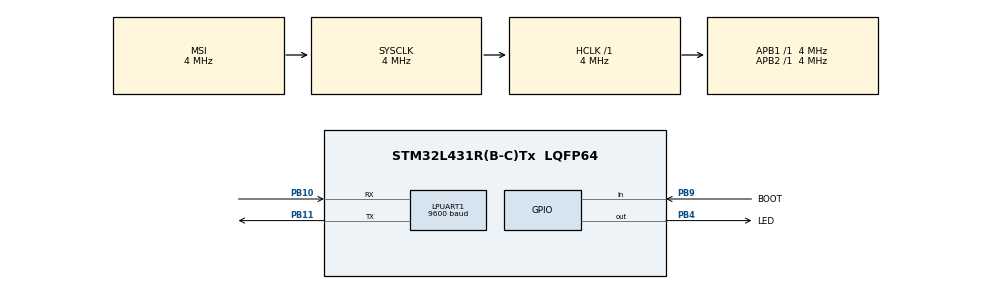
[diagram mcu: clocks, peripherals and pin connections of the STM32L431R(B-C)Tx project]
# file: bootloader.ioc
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LPUART1.BaudRate=9600
LPUART1.WordLength=UART_WORDLENGTH_8B
Mcu.Family=STM32L4
Mcu.Name=STM32L431R(B-C)Tx
Mcu.Package=LQFP64
NVIC.PriorityGroup=NVIC_PRIORITYGROUP_4
PA13\ (JTMS-SWDIO).Mode=Serial_Wire
PA13\ (JTMS-SWDIO).Signal=SYS_JTMS-SWDIO
PA14\ (JTCK-SWCLK).Mode=Serial_Wire
PA14\ (JTCK-SWCLK).Signal=SYS_JTCK-SWCLK
PB10.Mode=Asynchronous
PB10.Signal=LPUART1_RX
PB11.Mode=Asynchronous
PB11.Signal=LPUART1_TX
PB4\ (NJTRST).GPIO_Label=LED
PB4\ (NJTRST).GPIO_PuPd=GPIO_PULLUP
PB4\ (NJTRST).PinState=GPIO_PIN_SET
PB4\ (NJTRST).Signal=GPIO_Output
PB9.GPIO_Label=BOOT
PB9.GPIO_Mode=GPIO_MODE_INPUT
PB9.GPIO_PuPd=GPIO_PULLUP
PB9.Signal=GPIO_Input
PC14-OSC32_IN\ (PC14).Mode=LSE-External-Oscillator
PC14-OSC32_IN\ (PC14).Signal=RCC_OSC32_IN
PC15-OSC32_OUT\ (PC15).Mode=LSE-External-Oscillator
PC15-OSC32_OUT\ (PC15).Signal=RCC_OSC32_OUT
ProjectManager.HeapSize=0x400
ProjectManager.StackSize=0x800
ProjectManager.TargetToolchain=Makefile
RCC.ADCFreq_Value=16000000
RCC.AHBFreq_Value=4000000
RCC.APB1Freq_Value=4000000
RCC.APB1TimFreq_Value=4000000
RCC.APB2Freq_Value=4000000
RCC.APB2TimFreq_Value=4000000
RCC.CortexFreq_Value=4000000
RCC.HCLKFreq_Value=4000000
RCC.HSE_VALUE=8000000
RCC.HSI48_VALUE=48000000
RCC.HSI_VALUE=16000000
RCC.LPUART1CLockSelection=RCC_LPUART1CLKSOURCE_LSE
RCC.MSI_VALUE=4000000
RCC.RTCClockSelection=RCC_RTCCLKSOURCE_LSE
RCC.SYSCLKFreq_VALUE=4000000
RCC.VCOOutputFreq_Value=32000000
VP_CRC_VS_CRC.Mode=CRC_Activate
VP_IWDG_VS_IWDG.Mode=IWDG_Activate
board=custom

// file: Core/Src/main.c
/* USER CODE BEGIN Header */
/**
  ******************************************************************************
  * @file           : main.c
  * @brief          : Main program body
  ******************************************************************************
  * @attention
  *
  * Copyright (c) 2023 STMicroelectronics.
  * All rights reserved.
  *
  * This software is licensed under terms that can be found in the LICENSE file
  * in the root directory of this software component.
  * If no LICENSE file comes with this software, it is provided AS-IS.
  *
  ******************************************************************************
  */
/* USER CODE END Header */
#include "main.h"
#include "crc.h"
#include "iwdg.h"
#include "usart.h"
#include "gpio.h"

/* USER CODE BEGIN Includes */
#include "update.h"
/* USER CODE END Includes */

/* USER CODE BEGIN PV */
char _RAM2 print_buf[512];
BOOT_PARAM boot_param;
uint32_t boot_addr;
/* USER CODE END PV */

void SystemClock_Config(void);

/* USER CODE BEGIN 0 */
static uint8_t check_boot(void) {
  if (LL_GPIO_IsInputPinSet(BOOT_GPIO_Port, BOOT_Pin) == 0) {
    return 1;
  } else {
    return 0;
  }
}
/* USER CODE END 0 */

int main(void)
{

  /* MCU Configuration--------------------------------------------------------*/

  /* Reset of all peripherals, Initializes the Flash interface and the Systick. */
  HAL_Init();

  /* Configure the system clock */
  SystemClock_Config();

  /* Initialize all configured peripherals */
  MX_GPIO_Init();
  MX_IWDG_Init();
  MX_LPUART1_UART_Init();
  MX_CRC_Init();
  /* USER CODE BEGIN 2 */
  //boot_test();

  if (check_boot()) {
    boot_addr = ADDR_BASE_APP;
    uart_printf("force boot to `app` \n");
    LL_IWDG_ReloadCounter(IWDG);
  } else {
    boot_param_read_check(&boot_param);
    LL_IWDG_ReloadCounter(IWDG);
    boot_addr = select_boot_addr(&boot_param);
    LL_IWDG_ReloadCounter(IWDG);
  }
  uart_printf("boot addr: %#lx\n", boot_addr);
  LL_IWDG_ReloadCounter(IWDG);

  uart_printf("close peripherals and interrupts\n");
  LL_IWDG_ReloadCounter(IWDG);
  LL_LPUART_DeInit(LPUART1);
  LL_GPIO_DeInit(GPIOA);
  LL_GPIO_DeInit(GPIOB);
  LL_GPIO_DeInit(GPIOC);
  LL_GPIO_DeInit(GPIOD);
  LL_GPIO_DeInit(GPIOH);
  HAL_CRC_DeInit(&hcrc);
  HAL_DeInit();
  LL_IWDG_ReloadCounter(IWDG);

  start_boot_app(boot_addr);
  /* USER CODE END 2 */

  /* Infinite loop */
  while (1)
  {

    /* USER CODE BEGIN 3 */
    //LL_IWDG_ReloadCounter(IWDG);
  }
  /* USER CODE END 3 */
}

void SystemClock_Config(void)
{
  RCC_OscInitTypeDef RCC_OscInitStruct = {0};
  RCC_ClkInitTypeDef RCC_ClkInitStruct = {0};

  /** Configure the main internal regulator output voltage
  */
  if (HAL_PWREx_ControlVoltageScaling(PWR_REGULATOR_VOLTAGE_SCALE1) != HAL_OK)
  {
    Error_Handler();
  }

  /** Configure LSE Drive Capability
  */
  HAL_PWR_EnableBkUpAccess();
  __HAL_RCC_LSEDRIVE_CONFIG(RCC_LSEDRIVE_LOW);

  /** Initializes the RCC Oscillators according to the specified parameters
  * in the RCC_OscInitTypeDef structure.
  */
  RCC_OscInitStruct.OscillatorType = RCC_OSCILLATORTYPE_LSI|RCC_OSCILLATORTYPE_LSE
                              |RCC_OSCILLATORTYPE_MSI;
  RCC_OscInitStruct.LSEState = RCC_LSE_ON;
  RCC_OscInitStruct.LSIState = RCC_LSI_ON;
  RCC_OscInitStruct.MSIState = RCC_MSI_ON;
  RCC_OscInitStruct.MSICalibrationValue = 0;
  RCC_OscInitStruct.MSIClockRange = RCC_MSIRANGE_6;
  RCC_OscInitStruct.PLL.PLLState = RCC_PLL_NONE;
  if (HAL_RCC_OscConfig(&RCC_OscInitStruct) != HAL_OK)
  {
    Error_Handler();
  }

  /** Initializes the CPU, AHB and APB buses clocks
  */
  RCC_ClkInitStruct.ClockType = RCC_CLOCKTYPE_HCLK|RCC_CLOCKTYPE_SYSCLK
                              |RCC_CLOCKTYPE_PCLK1|RCC_CLOCKTYPE_PCLK2;
  RCC_ClkInitStruct.SYSCLKSource = RCC_SYSCLKSOURCE_MSI;
  RCC_ClkInitStruct.AHBCLKDivider = RCC_SYSCLK_DIV1;
  RCC_ClkInitStruct.APB1CLKDivider = RCC_HCLK_DIV1;
  RCC_ClkInitStruct.APB2CLKDivider = RCC_HCLK_DIV1;

  if (HAL_RCC_ClockConfig(&RCC_ClkInitStruct, FLASH_LATENCY_0) != HAL_OK)
  {
    Error_Handler();
  }

  /** Enable MSI Auto calibration
  */
  HAL_RCCEx_EnableMSIPLLMode();
}

void Error_Handler(void)
{
  __disable_irq();
  while (1)
  {
  }
}
